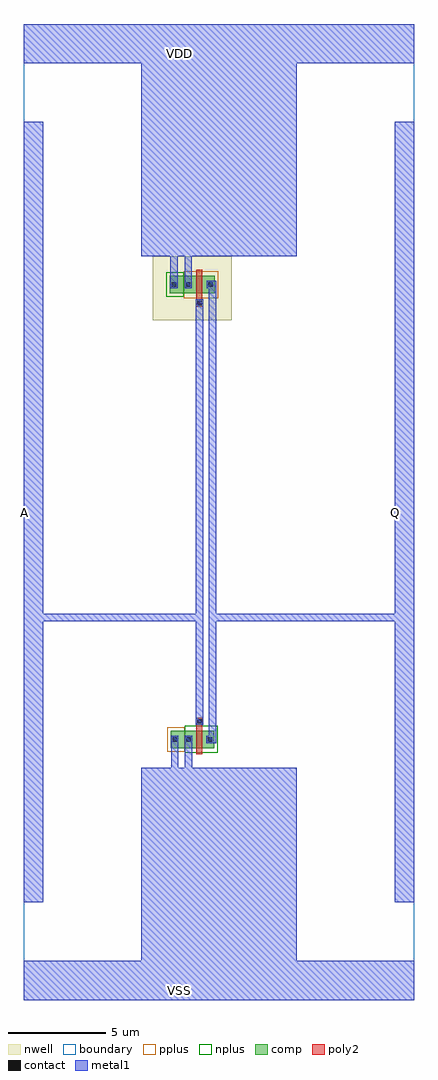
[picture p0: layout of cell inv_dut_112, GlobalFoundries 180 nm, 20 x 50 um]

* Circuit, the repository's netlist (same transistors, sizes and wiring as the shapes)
* inv_dut_112: pfet_03v3 W=0.90u L=0.30u / nfet_03v3 W=0.90u L=0.30u
.SUBCKT inv_dut_112 A Q VDD VSS
MMP Q A VDD VDD pfet_03v3 W=0.90u L=0.30u
MMN Q A VSS VSS nfet_03v3 W=0.90u L=0.30u
.ENDS

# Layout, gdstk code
import gdstk
lib = gdstk.Library(unit=1e-6, precision=1e-09)
def R(c, l, rs):  # rectangles x0, y0, x1, y1
    for r in rs: c.add(gdstk.rectangle(r[:2], r[2:], *l))
def P(c, l, *ps):  # polygons
    for p in ps: c.add(gdstk.Polygon(p, *l))
boundary = (0, 0)
nwell = (21, 0)
comp = (22, 0)
poly2 = (30, 0)
pplus = (31, 0)
nplus = (32, 0)
contact = (33, 0)
metal1 = (34, 0)

inv_dut_112 = lib.new_cell('inv_dut_112')
R(inv_dut_112, boundary, [(-10,-25,10,25)])
R(inv_dut_112, nwell, [(-3.395,9.83,0.655,13.09)])
R(inv_dut_112, comp, [(-2.475,-12.1,-0.245,-11.2), (-2.535,11.2,-0.205,12.1)])
P(inv_dut_112, poly2, [(-1.155,-12.4),(-1.155,-10.9),(-1.185,-10.9),(-1.185,-10.54),(-0.825,-10.54),(-0.825,-10.9),(-0.855,-10.9),(-0.855,-12.4)],
  [(-1.195,10.52),(-1.195,10.9),(-1.155,10.9),(-1.155,12.4),(-0.855,12.4),(-0.855,10.9),(-0.815,10.9),(-0.815,10.52)])
R(inv_dut_112, pplus, [(-2.645,-12.27,-1.765,-11.03), (-1.805,10.96,-0.035,12.34)])
R(inv_dut_112, nplus, [(-1.765,-12.34,-0.075,-10.96), (-2.705,11.03,-1.805,12.27)])
R(inv_dut_112, contact, [(-2.375,-11.76,-2.155,-11.54), (-1.665,-11.76,-1.445,-11.54), (-0.565,-11.76,-0.345,-11.54), (-1.115,-10.83,-0.895,-10.61), (-1.115,10.6,-0.895,10.82), (-2.415,11.54,-2.195,11.76), (-1.685,11.54,-1.465,11.76), (-0.545,11.54,-0.325,11.76)])
R(inv_dut_112, metal1, [(-10,-25,10,-23), (-3.995,-23,3.995,-13.4), (-10,-20,-9,20), (9,-20,10,20), (-3.995,-13.7,3.995,-13.1), (-2.455,-13.7,-2.075,-11.46), (-1.745,-13.7,-1.365,-11.46), (-2.455,-11.84,-2.075,-11.46), (-1.745,-11.84,-1.365,-11.46), (-0.645,-11.84,-0.135,-11.46), (-0.645,-11.84,-0.265,-11.46), (-0.515,-11.84,-0.135,11.84), (-1.195,-10.91,-0.815,10.9), (-1.195,-10.91,-0.815,-10.53), (-9,-5.6,-3.695,-5.2), (-3.995,-5.6,-0.815,-5.2), (-0.515,-5.6,3.995,-5.2), (3.695,-5.6,9,-5.2), (-1.195,10.52,-0.815,10.9), (-2.495,11.46,-2.115,13.7), (-2.495,11.46,-2.115,11.84), (-1.765,11.46,-1.385,13.7), (-1.765,11.46,-1.385,11.84), (-0.625,11.46,-0.135,11.84), (-0.625,11.46,-0.245,11.84), (-3.995,13.1,3.995,13.7), (-3.995,13.4,3.995,23), (-10,23,10,25)])
inv_dut_112.add(gdstk.Label('VDD', (-2,23.5), layer=34, texttype=10))
inv_dut_112.add(gdstk.Label('VSS', (-2,-24.5), layer=34, texttype=10))
inv_dut_112.add(gdstk.Label('A', (-9.97,0), layer=34, texttype=10))
inv_dut_112.add(gdstk.Label('Q', (9.03,0), layer=34, texttype=10))

lib.write_gds('inv_dut_112.gds')
